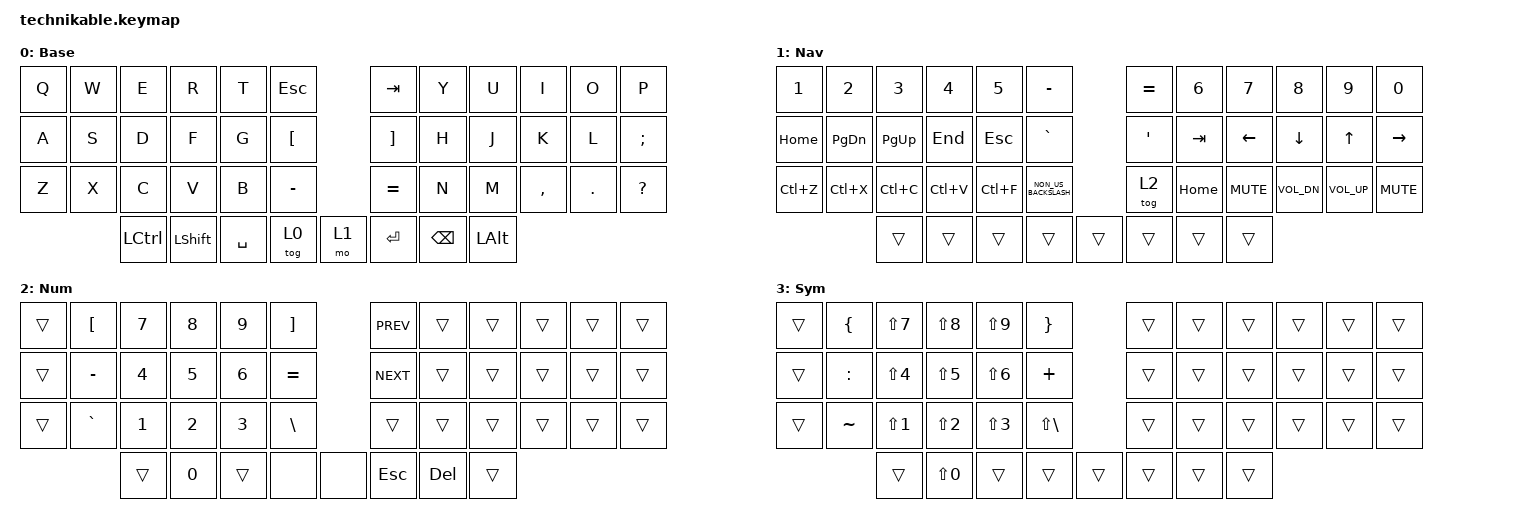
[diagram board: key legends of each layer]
/*
 * Copyright (c) 2022 Pete Johanson
 *
 * SPDX-License-Identifier: MIT
 */

#include <behaviors.dtsi>
#include <dt-bindings/zmk/keys.h>

#define BAS_L 0
#define NAV_L 1
#define NUM_L 2
#define SYM_L 3

// Using layer taps on thumbs, having quick tap as well helps w/ repeating space/backspace

&lt { quick_tap_ms = <200>; };

/ {
    chosen { zmk,matrix_transform = &ortho_transform; };

    conditional_layers {
        compatible = "zmk,conditional-layers";

        tri_layer {
            if-layers = <NAV_L NUM_L>;
            then-layer = <SYM_L>;
        };
    };

    keymap {
        compatible = "zmk,keymap";

        base_layer {
            label = "Base";
            bindings = <
&kp Q  &kp W  &kp E      &kp R           &kp T      &kp ESC                  &kp TAB            &kp Y          &kp U         &kp I      &kp O       &kp P
&kp A  &kp S  &kp D      &kp F           &kp G      &kp LEFT_BRACKET         &kp RIGHT_BRACKET  &kp H          &kp J         &kp K      &kp L       &kp SEMICOLON
&kp Z  &kp X  &kp C      &kp V           &kp B      &kp MINUS                &kp EQUAL          &kp N          &kp M         &kp COMMA  &kp PERIOD  &kp QUESTION
              &kp LCTRL  &kp LEFT_SHIFT  &kp SPACE  &tog 0            &mo 1  &kp ENTER          &kp BACKSPACE  &kp LEFT_ALT
            >;
        };

        nav_layer {
            label = "Nav";
            bindings = <
&kp N1     &kp N2         &kp N3       &kp N4     &kp N5     &kp MINUS                     &kp EQUAL         &kp N6    &kp N7          &kp N8          &kp N9           &kp N0
&kp HOME   &kp PAGE_DOWN  &kp PAGE_UP  &kp END    &kp ESC    &kp GRAVE                     &kp SINGLE_QUOTE  &kp TAB   &kp LEFT_ARROW  &kp DOWN_ARROW  &kp UP_ARROW     &kp RIGHT_ARROW
&kp LC(Z)  &kp LC(X)      &kp LC(C)    &kp LC(V)  &kp LC(F)  &kp NON_US_BACKSLASH          &tog 2            &kp HOME  &kp C_MUTE      &kp C_VOL_DN    &kp C_VOLUME_UP  &kp K_MUTE
                          &trans       &trans     &trans     &trans                &trans  &trans            &trans    &trans
            >;
        };

        num_layer {
            label = "Num";
            bindings = <
&trans  &kp LBKT   &kp N7  &kp N8  &kp N9  &kp RBKT          &kp C_PREV  &trans   &trans  &trans  &trans  &trans
&trans  &kp MINUS  &kp N4  &kp N5  &kp N6  &kp EQUAL         &kp C_NEXT  &trans   &trans  &trans  &trans  &trans
&trans  &kp GRAVE  &kp N1  &kp N2  &kp N3  &kp BSLH          &trans      &trans   &trans  &trans  &trans  &trans
                   &trans  &kp N0  &trans  &none      &none  &kp ESC     &kp DEL  &trans
            >;
        };

        sym_layer {
            label = "Sym";
            bindings = <
&trans  &kp LBRC   &kp LS(N7)  &kp LS(N8)  &kp LS(N9)  &kp RBRC              &trans  &trans  &trans  &trans  &trans  &trans
&trans  &kp COLON  &kp LS(N4)  &kp LS(N5)  &kp LS(N6)  &kp PLUS              &trans  &trans  &trans  &trans  &trans  &trans
&trans  &kp TILDE  &kp LS(N1)  &kp LS(N2)  &kp LS(N3)  &kp LS(BSLH)          &trans  &trans  &trans  &trans  &trans  &trans
                   &trans      &kp LS(N0)  &trans      &trans        &trans  &trans  &trans  &trans
            >;
        };
    };
};
